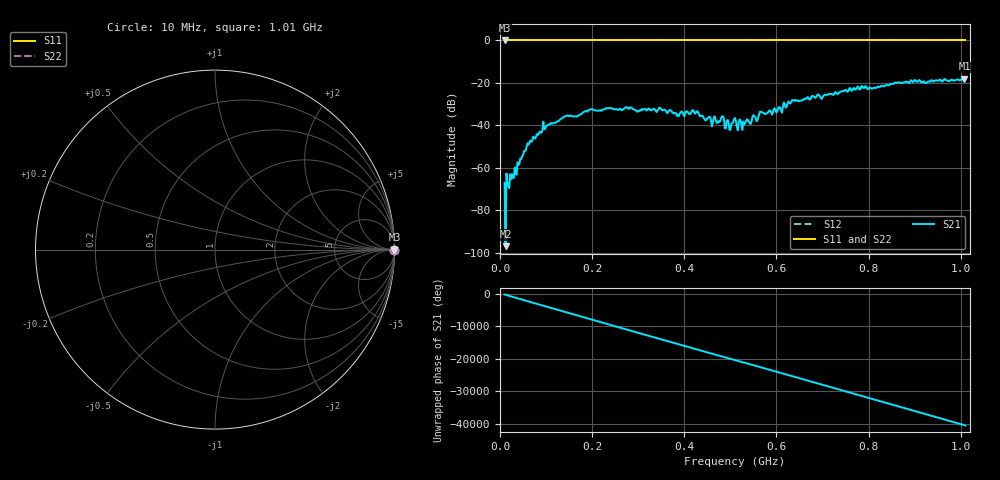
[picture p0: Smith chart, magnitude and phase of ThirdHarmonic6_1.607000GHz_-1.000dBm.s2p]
! 8/16/2025 7:10:24 PM
! C:\ANRITSUVNA\TEMP\TEMP.S2P
! CHANNEL.1
! TR.MEASUREMENT
! RAW.DATA
! RF.CORRECTION.OFF
! AVERAGING.OFF
! IF.BANDWIDTH: 5KHZ
! SWEEPTYPE:  FREQ.SWEEP(Linear)
! Reference Plane Port Info
! PORT:  PORT1  PORT2
! DISTANCE:  0  m  0  m
! TIME:  0  s  0  s
! PHASE.OFFSET:  0  deg.  0  deg.
! LOSS:  0  dB  0  dB
! REF.LOSS:  0  dB  0  dB
! REF.FREQ:  0  Hz  0  Hz
! Power Info
! POWER:  -20  dBm  -20  dBm
! EFF.POWER:  -20  dBm  -20  dBm
! SOURCE.ATTEN:  0  dB  0  dB
! TEST.ATTEN:  0  dB  0  dB
# GHZ S RI R 50.0
! FREQ.GHZ  S11RE  S11IM  S21RE  S21IM  S12RE  S12IM  S22RE  S22IM
!; PortSelection: Port_12
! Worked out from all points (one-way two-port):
!   501 points, 10 MHz to 1.01 GHz, reference 50 ohm
!   highest |S21| = -17.98 dB at 1.008 GHz (marker M1); lowest = -97.0 dB at 12 MHz (marker M2)
!   lowest |S11| = 0.0 dB at 10 MHz (marker M3)
!   |S11| at or under -10 dB: nowhere
!   |S22| runs from 0.0 to 0.0 dB; largest |S21 - S12| = 1.1
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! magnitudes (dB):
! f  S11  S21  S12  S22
! 10 MHz  0.0  -67.2  0.0  0.0
! 12 MHz  0.0  -97.0  0.0  0.0
! 16 MHz  0.0  -67.1  0.0  0.0
! 18 MHz  0.0  -68.4  0.0  0.0
! 32 MHz  0.0  -59.9  0.0  0.0
! 62 MHz  0.0  -49.1  0.0  0.0
! 90 MHz  0.0  -43.5  0.0  0.0
! 178 MHz  0.0  -34.4  0.0  0.0
! 234 MHz  0.0  -32.0  0.0  0.0
! 344 MHz  0.0  -32.3  0.0  0.0
! 386 MHz  0.0  -35.0  0.0  0.0
! 424 MHz  0.0  -34.5  0.0  0.0
! 458 MHz  0.0  -37.7  0.0  0.0
! 482 MHz  0.0  -35.7  0.0  0.0
! 500 MHz  0.0  -42.1  0.0  0.0
! 510 MHz  0.0  -36.5  0.0  0.0
! 528 MHz  0.0  -38.2  0.0  0.0
! 568 MHz  0.0  -33.7  0.0  0.0
! 678 MHz  0.0  -26.2  0.0  0.0
! 844 MHz  0.0  -21.1  0.0  0.0
! 1.008 GHz  0.0  -18.0  0.0  0.0
! 1.01 GHz  0.0  -18.4  0.0  0.0
